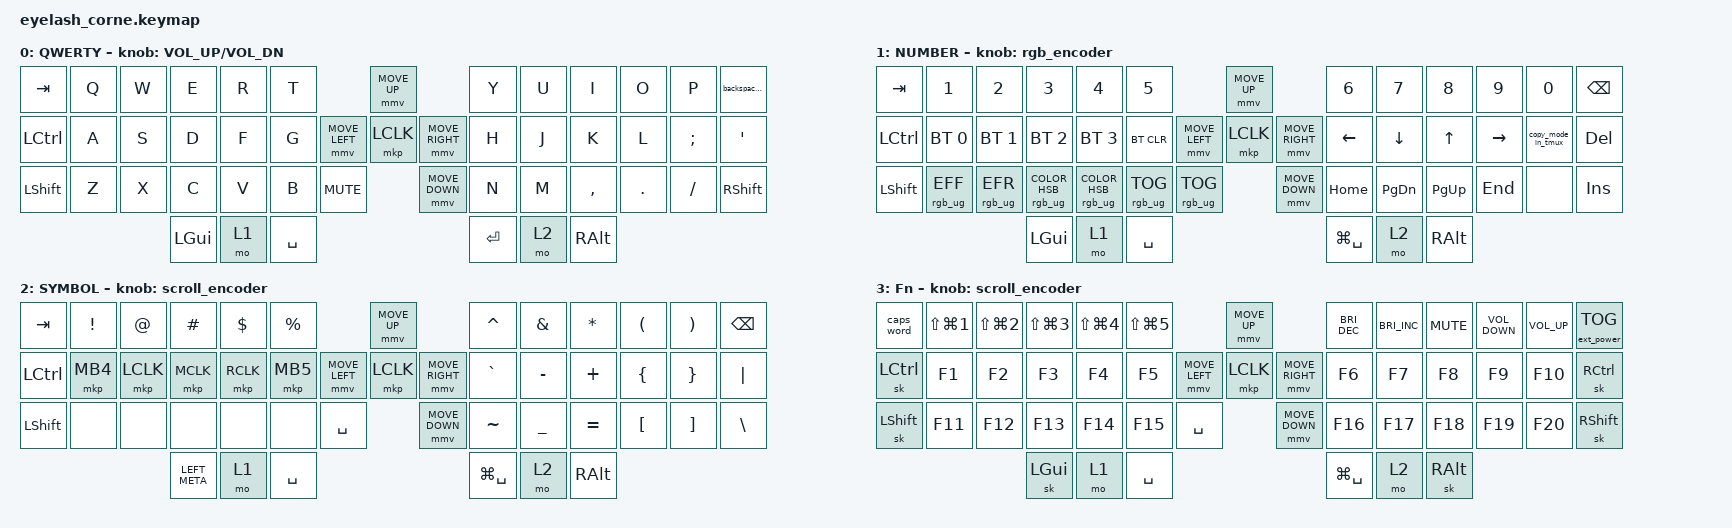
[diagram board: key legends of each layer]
#define ZMK_POINTING_DEFAULT_MOVE_VAL 1200  // 600
#define ZMK_POINTING_DEFAULT_SCRL_VAL 25   // 10

#include <input/processors.dtsi>
#include <zephyr/dt-bindings/input/input-event-codes.h>
#include <behaviors.dtsi>
#include <dt-bindings/zmk/bt.h>
#include <dt-bindings/zmk/ext_power.h>
#include <dt-bindings/zmk/keys.h>
#include <dt-bindings/zmk/outputs.h>
#include <dt-bindings/zmk/pointing.h>
#include <dt-bindings/zmk/rgb.h>

&mmv_input_listener { input-processors = <&zip_xy_scaler 2 1>; };

&msc_input_listener { input-processors = <&zip_scroll_scaler 2 1>; };

&msc {
    acceleration-exponent = <1>;      // 0
    time-to-max-speed-ms = <100>;       // 300
    delay-ms = <0>;                   // 0
};

&mmv {
    time-to-max-speed-ms = <500>;
    acceleration-exponent = <1>;
    trigger-period-ms = <16>;
};

&soft_off { hold-time-ms = <2000>; };

/ {
    behaviors {
    };

    rgb_encoder: rgb_encoder {
        compatible = "zmk,behavior-sensor-rotate";
        #sensor-binding-cells = <0>;
        bindings = <&rgb_ug RGB_BRI>, <&rgb_ug RGB_BRD>;
    };

    scroll_encoder: scroll_encoder {
        compatible = "zmk,behavior-sensor-rotate";
        #sensor-binding-cells = <0>;
        bindings = <&msc SCRL_DOWN>, <&msc SCRL_UP>;

        tap-ms = <100>;
    };

    backspaceToEsc: backspaceToEsc {
        compatible = "zmk,behavior-mod-morph";
        label = "BACKSPACETOESC";
        bindings = <&kp BACKSPACE>, <&kp ESCAPE>;

        #binding-cells = <0>;
        mods = <(MOD_LCTL)>;
    };

    combos {
        compatible = "zmk,combos";

        softoff {
            bindings = <&soft_off>;
            key-positions = <0 43 46 41>;
            layers = <3>;
        };

        sys_reset {
            bindings = <&sys_reset>;
            key-positions = <43 46 28 13>;
            layers = <3>;
        };

        studio_unlock {
            bindings = <&studio_unlock>;
            key-positions = <12 43 46 28>;
            layers = <3>;
        };

        bootloader {
            bindings = <&bootloader>;
            key-positions = <46 43 28 27>;
            layers = <3>;
        };

        toggle_usb_blue {
            bindings = <&out OUT_TOG>;
            key-positions = <41 46 43 28>;
            layers = <3>;
        };
    };

    macros {
        copy_mode_in_tmux: copy_mode_in_tmux {
            compatible = "zmk,behavior-macro";
            label = "COPY_MODE_IN_TMUX";
            #binding-cells = <0>;
            bindings = <&kp LC(B) &kp LEFT_BRACKET>;
        };
    };

    keymap {
        compatible = "zmk,keymap";

        default_layer {
            display-name = "QWERTY";
            bindings = <
&kp TAB           &kp Q  &kp W  &kp E     &kp R  &kp T                                    &mmv MOVE_UP                     &kp Y       &kp U  &kp I      &kp O    &kp P     &backspaceToEsc
&kp LEFT_CONTROL  &kp A  &kp S  &kp D     &kp F  &kp G                    &mmv MOVE_LEFT  &mkp LCLK       &mmv MOVE_RIGHT  &kp H       &kp J  &kp K      &kp L    &kp SEMI  &kp SQT
&kp LEFT_SHIFT    &kp Z  &kp X  &kp C     &kp V  &kp B      &kp C_MUTE                    &mmv MOVE_DOWN                   &kp N       &kp M  &kp COMMA  &kp DOT  &kp FSLH  &kp RIGHT_SHIFT
                                &kp LGUI  &mo 1  &kp SPACE                                                                 &kp RETURN  &mo 2  &kp RALT
            >;

            sensor-bindings = <&inc_dec_kp C_VOLUME_UP C_VOL_DN>;
        };

        lower_layer {
            display-name = "NUMBER";
            bindings = <
&kp TAB           &kp N1           &kp N2           &kp N3                            &kp N4                            &kp N5                                              &mmv MOVE_UP                     &kp N6         &kp N7         &kp N8         &kp N9     &kp N0              &kp BSPC
&kp LEFT_CONTROL  &bt BT_SEL 0     &bt BT_SEL 1     &bt BT_SEL 2                      &bt BT_SEL 3                      &bt BT_CLR                          &mmv MOVE_LEFT  &mkp LCLK       &mmv MOVE_RIGHT  &kp LEFT       &kp DOWN       &kp UP         &kp RIGHT  &copy_mode_in_tmux  &kp DEL
&kp LEFT_SHIFT    &rgb_ug RGB_EFF  &rgb_ug RGB_EFR  &rgb_ug RGB_COLOR_HSB(148,30,28)  &rgb_ug RGB_COLOR_HSB(220,33,42)  &rgb_ug RGB_TOG  &rgb_ug RGB_TOG                    &mmv MOVE_DOWN                   &kp HOME       &kp PAGE_DOWN  &kp PAGE_UP    &kp END    &none               &kp INSERT
                                                    &kp LEFT_GUI                      &mo 1                             &kp SPACE                                                                            &kp LG(SPACE)  &mo 2          &kp RIGHT_ALT
            >;

            sensor-bindings = <&rgb_encoder>;
        };

        raise_layer {
            display-name = "SYMBOL";
            bindings = <
&kp TAB           &kp EXCL  &kp AT     &kp HASH       &kp DLLR   &kp PRCNT                               &mmv MOVE_UP                     &kp CARET      &kp AMPS   &kp ASTRK      &kp LPAR          &kp RPAR           &kp BSPC
&kp LEFT_CONTROL  &mkp MB4  &mkp LCLK  &mkp MCLK      &mkp RCLK  &mkp MB5                &mmv MOVE_LEFT  &mkp LCLK       &mmv MOVE_RIGHT  &kp GRAVE      &kp MINUS  &kp PLUS       &kp LEFT_BRACE    &kp RIGHT_BRACE    &kp PIPE
&kp LEFT_SHIFT    &none     &none      &none          &none      &none      &kp SPACE                    &mmv MOVE_DOWN                   &kp TILDE      &kp UNDER  &kp EQUAL      &kp LEFT_BRACKET  &kp RIGHT_BRACKET  &kp BACKSLASH
                                       &kp LEFT_META  &mo 1      &kp SPACE                                                                &kp LG(SPACE)  &mo 2      &kp RIGHT_ALT
            >;

            sensor-bindings = <&scroll_encoder>;
        };

        layer_3 {
            display-name = "Fn";
            bindings = <
&caps_word        &kp LS(LG(NUMBER_1))  &kp LS(LG(NUMBER_2))  &kp LS(LG(NUMBER_3))  &kp LS(LG(NUMBER_4))  &kp LS(LG(N5))                               &mmv MOVE_UP                     &kp C_BRI_DEC  &kp C_BRI_INC  &kp K_MUTE     &kp C_VOLUME_DOWN  &kp C_VOLUME_UP  &ext_power EP_TOG
&sk LEFT_CONTROL  &kp F1                &kp F2                &kp F3                &kp F4                &kp F5                       &mmv MOVE_LEFT  &mkp LCLK       &mmv MOVE_RIGHT  &kp F6         &kp F7         &kp F8         &kp F9             &kp F10          &sk RIGHT_CONTROL
&sk LEFT_SHIFT    &kp F11               &kp F12               &kp F13               &kp F14               &kp F15         &kp SPACE                    &mmv MOVE_DOWN                   &kp F16        &kp F17        &kp F18        &kp F19            &kp F20          &sk RIGHT_SHIFT
                                                              &sk LEFT_GUI          &mo 1                 &kp SPACE                                                                     &kp LG(SPACE)  &mo 2          &sk RIGHT_ALT
            >;

            sensor-bindings = <&scroll_encoder>;
        };
    };

    conditional_layers {
        compatible = "zmk,conditional-layers";

        chageToLayer3 {
            if-layers = <1 2>;
            then-layer = <3>;
        };
    };
};
